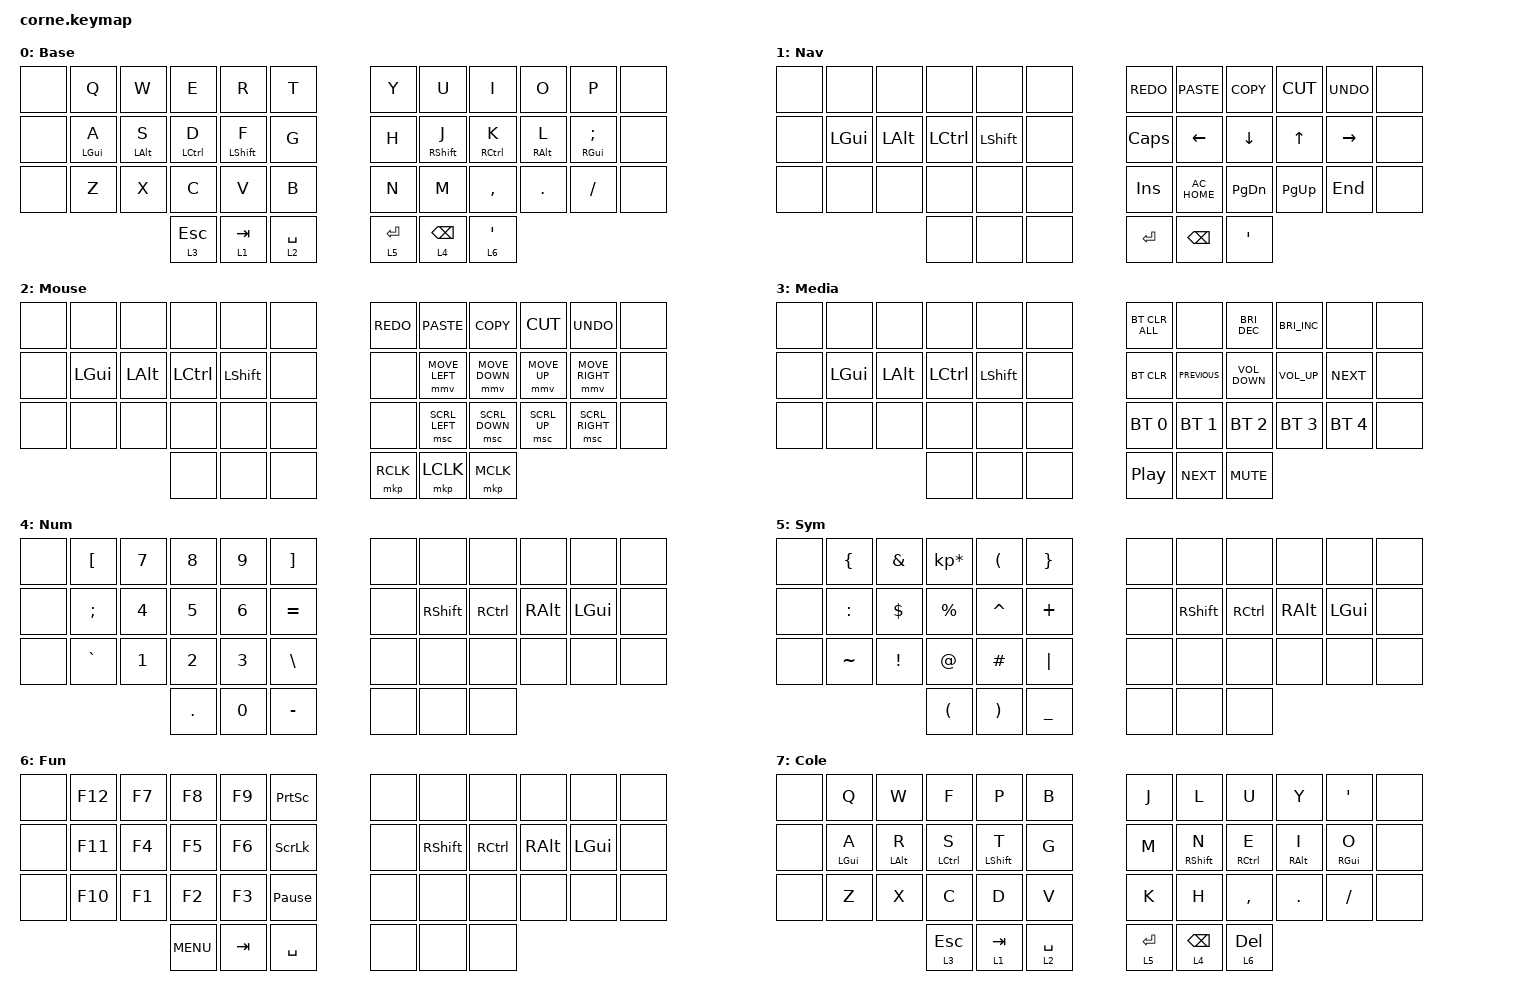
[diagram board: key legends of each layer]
/*
 * Copyright (c) 2020 The ZMK Contributors
 *
 * SPDX-License-Identifier: MIT
 */

#include <behaviors.dtsi>
#include <dt-bindings/zmk/bt.h>
#include <dt-bindings/zmk/keys.h>
#include <dt-bindings/zmk/pointing.h>

/ {
    behaviors {
        hml: hml {
            compatible = "zmk,behavior-hold-tap";
            label = "HML";
            bindings = <&kp>, <&kp>;

            #binding-cells = <2>;
            tapping-term-ms = <230>;
            flavor = "tap-preferred";
            quick-tap-ms = <230>;
            require-prior-idle-ms = <125>;
        };

        hmr: hmr {
            compatible = "zmk,behavior-hold-tap";
            label = "HMR";
            bindings = <&kp>, <&kp>;

            #binding-cells = <2>;
            tapping-term-ms = <230>;
            flavor = "tap-preferred";
            quick-tap-ms = <230>;
            require-prior-idle-ms = <125>;
        };
    };

    combos {
        compatible = "zmk,combos";

        layout_switch {
            bindings = <&tog 7>;
            key-positions = <36 37 40 41>;
        };

        delete {
            bindings = <&kp DEL>;
            key-positions = <9 10>;
        };

        caps {
            bindings = <&caps_word>;
            key-positions = <12 13>;
        };
    };

    keymap {
        compatible = "zmk,keymap";

        base_layer {
            // -----------------------------------------------------------------------------------------
            // |  TAB |  Q  |  W  |  E  |  R  |  T  |   |  Y  |  U   |  I  |  O  |  P  | BKSP |
            // | CTRL |  A  |  S  |  D  |  F  |  G  |   |  H  |  J   |  K  |  L  |  ;  |  '   |
            // | SHFT |  Z  |  X  |  C  |  V  |  B  |   |  N  |  M   |  ,  |  .  |  /  | ESC  |
            //                    | GUI | LWR | SPC |   | ENT | RSE  | ALT |

            bindings = <
&none  &kp Q        &kp W            &kp E         &kp R              &kp T          &kp Y        &kp U               &kp I         &kp O        &kp P                     &none
&none  &hml LGUI A  &hml LEFT_ALT S  &hml LCTRL D  &hml LEFT_SHIFT F  &kp G          &kp H        &hmr RIGHT_SHIFT J  &hmr RCTRL K  &hmr RALT L  &hmr RIGHT_GUI SEMICOLON  &none
&none  &kp Z        &kp X            &kp C         &kp V              &kp B          &kp N        &kp M               &kp COMMA     &kp DOT      &kp SLASH                 &none
                                     &lt 3 ESC     &lt 1 TAB          &lt 2 SPACE    &lt 5 ENTER  &lt 4 BACKSPACE     &lt 6 APOS
            >;

            label = "Base";
        };

        nav_layer {
            bindings = <
&none  &none     &none         &none      &none           &none    &kp K_REDO    &kp K_PASTE    &kp K_COPY     &kp K_CUT    &kp K_UNDO  &none
&none  &kp LGUI  &kp LEFT_ALT  &kp LCTRL  &kp LEFT_SHIFT  &none    &kp CAPSLOCK  &kp LEFT       &kp DOWN       &kp UP       &kp RIGHT   &none
&none  &none     &none         &none      &none           &none    &kp INSERT    &kp C_AC_HOME  &kp PAGE_DOWN  &kp PAGE_UP  &kp END     &none
                               &none      &none           &none    &kp ENTER     &kp BACKSPACE  &kp APOS
            >;

            label = "Nav";
        };

        mouse_layer {
            // -----------------------------------------------------------------------------------------
            // |  TAB |  1  |  2  |  3  |  4  |  5  |   |  6  |  7  |  8  |  9  |  0  | BKSP |
            // | BTCLR| BT1 | BT2 | BT3 | BT4 | BT5 |   | LFT | DWN |  UP | RGT |     |      |
            // | SHFT |     |     |     |     |     |   |     |     |     |     |     |      |
            //                    | GUI |     | SPC |   | ENT |     | ALT |

            bindings = <
&none  &none     &none         &none      &none           &none    &kp K_REDO  &kp K_PASTE     &kp K_COPY      &kp K_CUT     &kp K_UNDO       &none
&none  &kp LGUI  &kp LEFT_ALT  &kp LCTRL  &kp LEFT_SHIFT  &none    &none       &mmv MOVE_LEFT  &mmv MOVE_DOWN  &mmv MOVE_UP  &mmv MOVE_RIGHT  &none
&none  &none     &none         &none      &none           &none    &none       &msc SCRL_LEFT  &msc SCRL_DOWN  &msc SCRL_UP  &msc SCRL_RIGHT  &none
                               &none      &none           &none    &mkp RCLK   &mkp LCLK       &mkp MCLK
            >;

            label = "Mouse";
        };

        media_layer {
            // -----------------------------------------------------------------------------------------
            // |  TAB |  !  |  @  |  #  |  $  |  %  |   |  ^  |  &  |  *  |  (  |  )  | BKSP |
            // | CTRL |     |     |     |     |     |   |  -  |  =  |  [  |  ]  |  \  |  `   |
            // | SHFT |     |     |     |     |     |   |  _  |  +  |  {  |  }  | "|" |  ~   |
            //                    | GUI |     | SPC |   | ENT |     | ALT |

            bindings = <
&none  &none     &none         &none      &none           &none    &bt BT_CLR_ALL    &none           &kp C_BRIGHTNESS_DEC  &kp C_BRIGHTNESS_INC  &none         &none
&none  &kp LGUI  &kp LEFT_ALT  &kp LCTRL  &kp LEFT_SHIFT  &none    &bt BT_CLR        &kp C_PREVIOUS  &kp C_VOLUME_DOWN     &kp C_VOLUME_UP       &kp C_NEXT    &none
&none  &none     &none         &none      &none           &none    &bt BT_SEL 0      &bt BT_SEL 1    &bt BT_SEL 2          &bt BT_SEL 3          &bt BT_SEL 4  &none
                               &none      &none           &none    &kp C_PLAY_PAUSE  &kp C_NEXT      &kp K_MUTE
            >;

            label = "Media";
        };

        num_layer {
            bindings = <
&none  &kp LBKT   &kp N7  &kp N8   &kp N9  &kp RIGHT_BRACKET    &none  &none            &none      &none          &none     &none
&none  &kp SEMI   &kp N4  &kp N5   &kp N6  &kp EQUAL            &none  &kp RIGHT_SHIFT  &kp RCTRL  &kp RIGHT_ALT  &kp LGUI  &none
&none  &kp GRAVE  &kp N1  &kp N2   &kp N3  &kp BACKSLASH        &none  &none            &none      &none          &none     &none
                          &kp DOT  &kp N0  &kp MINUS            &none  &none            &none
            >;

            label = "Num";
        };

        sym_layer {
            bindings = <
&none  &kp LEFT_BRACE  &kp AMPERSAND    &kp KP_MULTIPLY       &kp LEFT_PARENTHESIS   &kp RIGHT_BRACE    &none  &none            &none      &none          &none     &none
&none  &kp COLON       &kp DOLLAR       &kp PERCENT           &kp CARET              &kp PLUS           &none  &kp RIGHT_SHIFT  &kp RCTRL  &kp RIGHT_ALT  &kp LGUI  &none
&none  &kp TILDE       &kp EXCLAMATION  &kp AT_SIGN           &kp HASH               &kp PIPE           &none  &none            &none      &none          &none     &none
                                        &kp LEFT_PARENTHESIS  &kp RIGHT_PARENTHESIS  &kp UNDERSCORE     &none  &none            &none
            >;

            label = "Sym";
        };

        fun_layer {
            bindings = <
&none  &kp F12  &kp F7  &kp F8      &kp F9   &kp PRINTSCREEN    &none  &none            &none      &none          &none     &none
&none  &kp F11  &kp F4  &kp F5      &kp F6   &kp SCROLLLOCK     &none  &kp RIGHT_SHIFT  &kp RCTRL  &kp RIGHT_ALT  &kp LGUI  &none
&none  &kp F10  &kp F1  &kp F2      &kp F3   &kp PAUSE_BREAK    &none  &none            &none      &none          &none     &none
                        &kp C_MENU  &kp TAB  &kp SPACE          &none  &none            &none
            >;

            label = "Fun";
        };

        colemak_layer {
            label = "Cole";
            bindings = <
&none  &kp Q        &kp W            &kp F         &kp P              &kp B          &kp J        &kp L               &kp U         &kp Y        &kp APOS          &none
&none  &hml LGUI A  &hml LEFT_ALT R  &hml LCTRL S  &hml LEFT_SHIFT T  &kp G          &kp M        &hmr RIGHT_SHIFT N  &hmr RCTRL E  &hmr RALT I  &hmr RIGHT_GUI O  &none
&none  &kp Z        &kp X            &kp C         &kp D              &kp V          &kp K        &kp H               &kp COMMA     &kp DOT      &kp SLASH         &none
                                     &lt 3 ESC     &lt 1 TAB          &lt 2 SPACE    &lt 5 ENTER  &lt 4 BACKSPACE     &lt 6 DELETE
            >;
        };
    };
};
